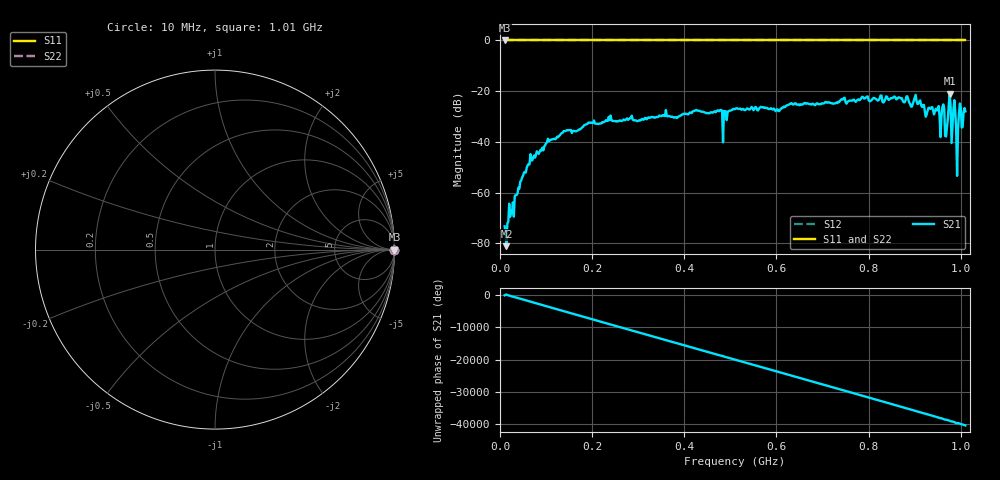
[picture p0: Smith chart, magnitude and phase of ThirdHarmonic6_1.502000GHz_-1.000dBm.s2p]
! 8/16/2025 5:39:14 PM
! C:\ANRITSUVNA\TEMP\TEMP.S2P
! CHANNEL.1
! TR.MEASUREMENT
! RAW.DATA
! RF.CORRECTION.OFF
! AVERAGING.OFF
! IF.BANDWIDTH: 5KHZ
! SWEEPTYPE:  FREQ.SWEEP(Linear)
! Reference Plane Port Info
! PORT:  PORT1  PORT2
! DISTANCE:  0  m  0  m
! TIME:  0  s  0  s
! PHASE.OFFSET:  0  deg.  0  deg.
! LOSS:  0  dB  0  dB
! REF.LOSS:  0  dB  0  dB
! REF.FREQ:  0  Hz  0  Hz
! Power Info
! POWER:  -20  dBm  -20  dBm
! EFF.POWER:  -20  dBm  -20  dBm
! SOURCE.ATTEN:  0  dB  0  dB
! TEST.ATTEN:  0  dB  0  dB
# GHZ S RI R 50.0
! FREQ.GHZ  S11RE  S11IM  S21RE  S21IM  S12RE  S12IM  S22RE  S22IM
!; PortSelection: Port_12
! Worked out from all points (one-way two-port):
!   501 points, 10 MHz to 1.01 GHz, reference 50 ohm
!   highest |S21| = -20.99 dB at 976 MHz (marker M1); lowest = -81.1 dB at 14 MHz (marker M2)
!   lowest |S11| = 0.0 dB at 10 MHz (marker M3)
!   |S11| at or under -10 dB: nowhere
!   |S22| runs from 0.0 to 0.0 dB; largest |S21 - S12| = 1.1
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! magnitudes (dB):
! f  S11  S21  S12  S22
! 10 MHz  0.0  -73.3  0.0  0.0
! 14 MHz  0.0  -81.1  0.0  0.0
! 48 MHz  0.0  -54.0  0.0  0.0
! 70 MHz  0.0  -47.3  0.0  0.0
! 108 MHz  0.0  -39.4  0.0  0.0
! 178 MHz  0.0  -34.3  0.0  0.0
! 344 MHz  0.0  -30.0  0.0  0.0
! 476 MHz  0.0  -27.9  0.0  0.0
! 488 MHz  0.0  -27.9  0.0  0.0
! 510 MHz  0.0  -27.1  0.0  0.0
! 678 MHz  0.0  -24.9  0.0  0.0
! 844 MHz  0.0  -23.4  0.0  0.0
! 948 MHz  0.0  -27.6  0.0  0.0
! 954 MHz  0.0  -29.8  0.0  0.0
! 962 MHz  0.0  -25.2  0.0  0.0
! 968 MHz  0.0  -37.9  0.0  0.0
! 974 MHz  0.0  -25.3  0.0  0.0
! 976 MHz  0.0  -21.0  0.0  0.0
! 986 MHz  0.0  -23.6  0.0  0.0
! 992 MHz  0.0  -53.4  0.0  0.0
! 998 MHz  0.0  -24.9  0.0  0.0
! 1.01 GHz  0.0  -28.0  0.0  0.0
